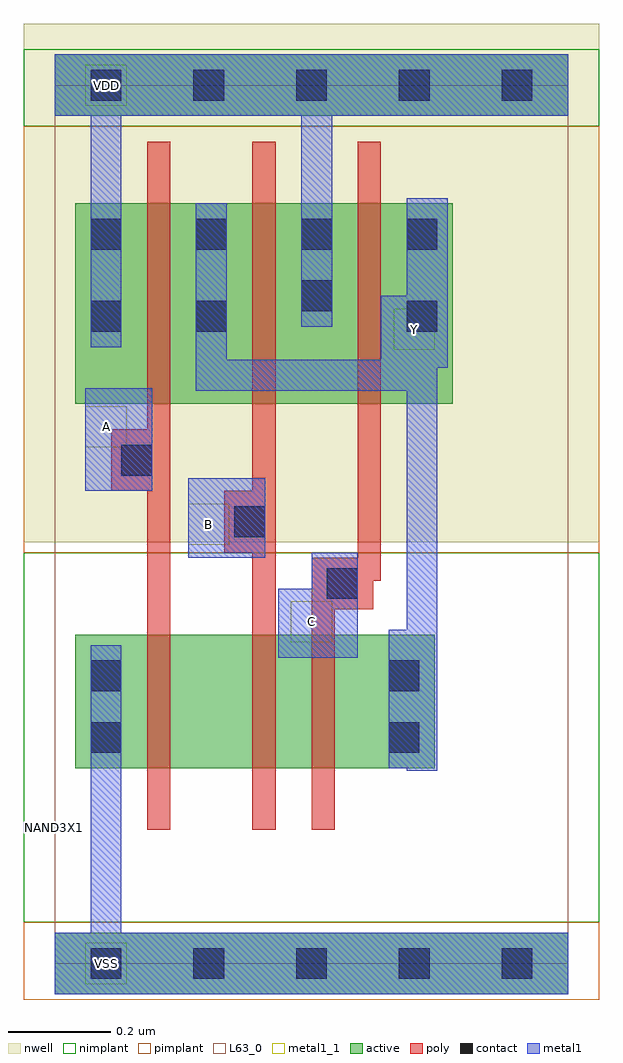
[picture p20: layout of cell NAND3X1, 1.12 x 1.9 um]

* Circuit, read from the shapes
.subckt NAND3X1 A B C VDD VSS Y
M1 n1 A VSS VSS nfet w=0.26u l=0.045u
M2 n2 B n1 VSS nfet w=0.26u l=0.045u
M3 Y C n2 VSS nfet w=0.26u l=0.045u
M4 Y A VDD VDD pfet w=0.39u l=0.045u
M5 VDD B Y VDD pfet w=0.39u l=0.045u
M6 Y C VDD VDD pfet w=0.39u l=0.045u
.ends

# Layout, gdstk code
import gdstk
lib = gdstk.Library(unit=1e-6, precision=5e-10)
def R(c, l, rs):  # rectangles x0, y0, x1, y1
    for r in rs: c.add(gdstk.rectangle(r[:2], r[2:], *l))
def A(c, l, x, y, w, h, nx, ny, dx, dy):  # array of equal rectangles
    R(c, l, [(x+i*dx, y+j*dy, x+i*dx+w, y+j*dy+h) for i in range(nx) for j in range(ny)])
def P(c, l, *ps):  # polygons
    for p in ps: c.add(gdstk.Polygon(p, *l))
active = (1, 0)
nwell = (2, 0)
poly = (3, 0)
nimplant = (4, 0)
pimplant = (5, 0)
contact = (6, 0)
metal1 = (7, 0)
metal1_1 = (7, 1)
L63_0 = (63, 0)

nand3x1 = lib.new_cell('NAND3X1')
R(nand3x1, active, [(0,-0.06,1,0.06), (0.04,0.38,0.74,0.64), (0.04,1.09,0.775,1.48), (0,1.65,1,1.77)])
R(nand3x1, nwell, [(-0.06,0.82,1.06,1.83)])
P(nand3x1, poly, [(0.635,1.6),(0.59,1.6),(0.59,0.79),(0.5,0.79),(0.5,0.26),(0.545,0.26),(0.545,0.69),(0.62,0.69),(0.62,0.745),(0.635,0.745)],
  [(0.43,1.6),(0.385,1.6),(0.385,0.92),(0.33,0.92),(0.33,0.8),(0.385,0.8),(0.385,0.26),(0.43,0.26)],
  [(0.225,1.6),(0.18,1.6),(0.18,1.04),(0.11,1.04),(0.11,0.92),(0.18,0.92),(0.18,0.26),(0.225,0.26)])
R(nand3x1, nimplant, [(-0.06,0.08,1.06,0.8), (-0.06,1.63,1.06,1.78)])
R(nand3x1, pimplant, [(-0.06,-0.07,1.06,0.08), (-0.06,0.8,1.06,1.63)])
A(nand3x1, contact, 0.07, -0.03, 0.06, 0.06, 5, 2, 0.2, 1.71)
A(nand3x1, contact, 0.07, 1.39, 0.06, 0.06, 4, 1, 0.205, 0)
R(nand3x1, contact, [(0.07,0.41,0.13,0.47), (0.65,0.41,0.71,0.47), (0.07,0.53,0.13,0.59), (0.65,0.53,0.71,0.59), (0.53,0.71,0.59,0.77), (0.35,0.83,0.41,0.89), (0.13,0.95,0.19,1.01), (0.07,1.23,0.13,1.29), (0.275,1.23,0.335,1.29), (0.685,1.23,0.745,1.29), (0.48,1.27,0.54,1.33)])
R(nand3x1, metal1, [(0.07,0.06,0.13,0.62), (0.26,0.79,0.41,0.945), (0.06,0.92,0.19,1.12), (0.07,1.2,0.13,1.65), (0.48,1.24,0.54,1.65)])
P(nand3x1, metal1, [(0.765,1.49),(0.685,1.49),(0.685,1.3),(0.635,1.3),(0.635,1.175),(0.335,1.175),(0.335,1.48),(0.275,1.48),(0.275,1.115),(0.685,1.115),(0.685,0.65),(0.65,0.65),(0.65,0.38),(0.685,0.38),(0.685,0.375),(0.745,0.375),(0.745,1.16),(0.765,1.16)],
  [(0.59,0.8),(0.5,0.8),(0.5,0.73),(0.435,0.73),(0.435,0.595),(0.59,0.595)])
R(nand3x1, metal1_1, [(0.06,-0.04,0.14,0.04), (0.46,0.625,0.54,0.705), (0.26,0.815,0.34,0.895), (0.06,1.005,0.14,1.085), (0.66,1.195,0.74,1.275), (0.06,1.67,0.14,1.75)])
R(nand3x1, L63_0, [(0,0,1,1.71)])
nand3x1.add(gdstk.FlexPath([(0,0),(1,0)], 0.12, ends="flush", simple_path=True, layer=7, datatype=0))  # metal1
nand3x1.add(gdstk.FlexPath([(0,1.71),(1,1.71)], 0.12, ends="flush", simple_path=True, layer=7, datatype=0))  # metal1
nand3x1.add(gdstk.Label('VSS', (0.1,0), layer=7, texttype=1))
nand3x1.add(gdstk.Label('Y', (0.7,1.235), layer=7, texttype=1))
nand3x1.add(gdstk.Label('C', (0.5,0.665), layer=7, texttype=1))
nand3x1.add(gdstk.Label('A', (0.1,1.045), layer=7, texttype=1))
nand3x1.add(gdstk.Label('B', (0.3,0.855), layer=7, texttype=1))
nand3x1.add(gdstk.Label('VDD', (0.1,1.71), layer=7, texttype=1))
nand3x1.add(gdstk.Label('VSS', (0.1,0), layer=7, texttype=1))
nand3x1.add(gdstk.Label('VDD', (0.1,1.71), layer=7, texttype=1))
nand3x1.add(gdstk.Label('B', (0.3,0.855), layer=7, texttype=1))
nand3x1.add(gdstk.Label('A', (0.1,1.045), layer=7, texttype=1))
nand3x1.add(gdstk.Label('C', (0.5,0.665), layer=7, texttype=1))
nand3x1.add(gdstk.Label('Y', (0.7,1.235), layer=7, texttype=1))
nand3x1.add(gdstk.Label('NAND3X1', (0,0.265), layer=63, texttype=0))

lib.write_gds('NAND3X1.gds')
